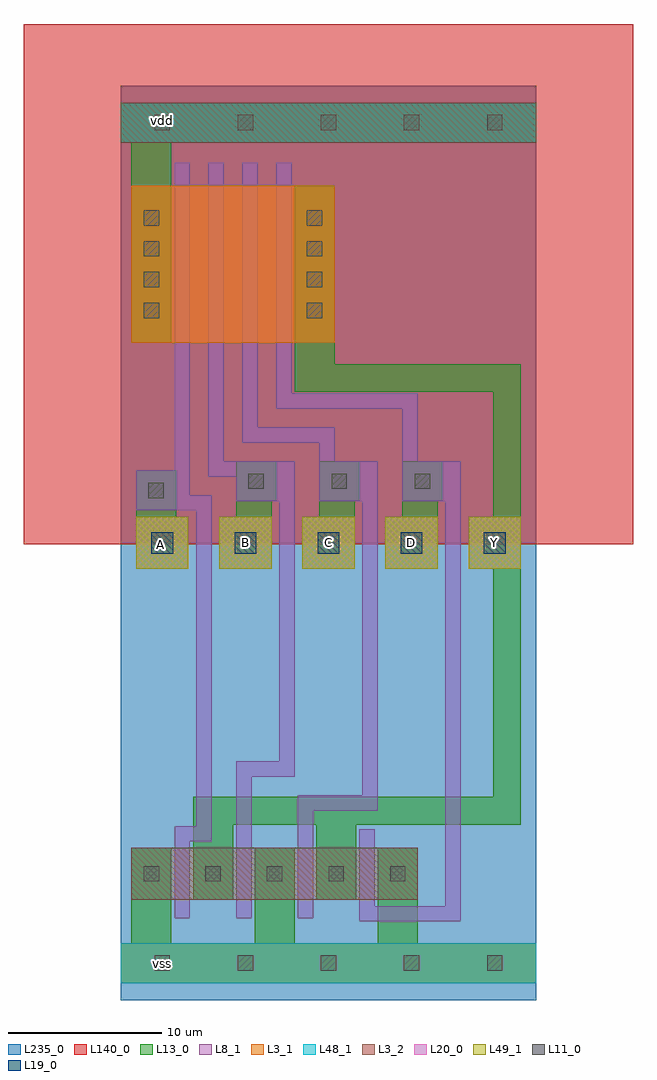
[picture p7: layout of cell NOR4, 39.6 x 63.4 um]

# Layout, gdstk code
import gdstk
lib = gdstk.Library(unit=1e-6, precision=1e-09)
def R(c, l, rs):  # rectangles x0, y0, x1, y1
    for r in rs: c.add(gdstk.rectangle(r[:2], r[2:], *l))
def A(c, l, x, y, w, h, nx, ny, dx, dy):  # array of equal rectangles
    R(c, l, [(x+i*dx, y+j*dy, x+i*dx+w, y+j*dy+h) for i in range(nx) for j in range(ny)])
def P(c, l, *ps):  # polygons
    for p in ps: c.add(gdstk.Polygon(p, *l))
L3_1 = (3, 1)
L3_2 = (3, 2)
L8_1 = (8, 1)
L11_0 = (11, 0)
L13_0 = (13, 0)
L19_0 = (19, 0)
L20_0 = (20, 0)
L48_1 = (48, 1)
L49_1 = (49, 1)
L140_0 = (140, 0)
L235_0 = (235, 0)

nor4 = lib.new_cell('NOR4')
R(nor4, L3_1, [(0,1.1,27,3.7), (0.7,42.7,13.9,52.9)])
R(nor4, L3_2, [(0.7,6.5,19.3,9.9), (0,55.7,27,58.3)])
P(nor4, L8_1, [(3.5,5.3),(3.5,11.3),(4.9,11.3),(4.9,31.8),(1,31.8),(1,34.4),(3.5,34.4),(3.5,54.4),(4.5,54.4),(4.5,32.8),(5.9,32.8),(5.9,10.3),(4.5,10.3),(4.5,5.3)],
  [(7.5,5.3),(7.5,15.5),(10.3,15.5),(10.3,32.4),(7.5,32.4),(7.5,34),(5.7,34),(5.7,54.4),(6.7,54.4),(6.7,35),(11.3,35),(11.3,14.5),(8.5,14.5),(8.5,5.3)],
  [(11.5,5.3),(11.5,13.3),(15.7,13.3),(15.7,32.4),(12.9,32.4),(12.9,36.2),(7.9,36.2),(7.9,54.4),(8.9,54.4),(8.9,37.2),(13.9,37.2),(13.9,35),(16.7,35),(16.7,12.3),(12.5,12.3),(12.5,5.3)],
  [(15.5,5.1),(15.5,11.1),(16.5,11.1),(16.5,6.1),(21.1,6.1),(21.1,32.4),(18.3,32.4),(18.3,38.4),(10.1,38.4),(10.1,54.4),(11.1,54.4),(11.1,39.4),(19.3,39.4),(19.3,35),(22.1,35),(22.1,5.1)])
A(nor4, L11_0, 7.6, 1.9, 1, 1, 4, 2, 5.4, 54.6)
A(nor4, L11_0, 1.5, 7.7, 1, 1, 5, 1, 4, 0)
A(nor4, L11_0, 8.3, 33.2, 1, 1, 3, 1, 5.4, 0)
A(nor4, L11_0, 1.5, 44.3, 1, 1, 1, 4, 0, 2)
A(nor4, L11_0, 12.1, 44.3, 1, 1, 1, 4, 0, 2)
R(nor4, L11_0, [(2.2,1.9,3.2,2.9), (7.6,1.9,8.6,2.9), (1.8,32.6,2.8,33.6), (2.2,56.5,3.2,57.5), (2.2,56.5,3.2,57.5), (7.6,56.5,8.6,57.5), (7.6,56.5,8.6,57.5), (7.6,56.5,8.6,57.5)])
A(nor4, L13_0, 0.7, 3.7, 2.6, 6.2, 3, 1, 8, 0)
R(nor4, L13_0, [(0,1.1,27,3.7), (0.7,42.7,3.3,55.7), (0,55.7,27,58.3)])
P(nor4, L13_0, [(11.8,28),(11.8,31.4),(12.9,31.4),(12.9,35),(15.5,35),(15.5,32.4),(15.2,32.4),(15.2,28)],
  [(1,28),(1,34.4),(3.6,34.4),(3.6,31.4),(4.4,31.4),(4.4,28)],
  [(6.4,28),(6.4,31.4),(7.5,31.4),(7.5,35),(10.1,35),(10.1,32.4),(9.8,32.4),(9.8,28)],
  [(17.2,28),(17.2,31.4),(18.3,31.4),(18.3,35),(20.9,35),(20.9,32.4),(20.6,32.4),(20.6,28)],
  [(4.7,6.5),(4.7,13.2),(24.2,13.2),(24.2,28),(22.6,28),(22.6,31.4),(24.2,31.4),(24.2,39.5),(11.3,39.5),(11.3,52.9),(13.9,52.9),(13.9,41.3),(26,41.3),(26,11.4),(15.3,11.4),(15.3,6.5),(12.7,6.5),(12.7,11.4),(7.3,11.4),(7.3,6.5)])
A(nor4, L19_0, 2, 29, 1.4, 1.4, 5, 1, 5.4, 0)
A(nor4, L20_0, 1, 28, 3.4, 3.4, 5, 1, 5.4, 0)
R(nor4, L48_1, [(0,1.1,27,3.7), (0,55.7,27,58.3)])
A(nor4, L49_1, 1, 28, 3.4, 3.4, 5, 1, 5.4, 0)
R(nor4, L140_0, [(-6.3,29.6,33.3,63.4)])
R(nor4, L235_0, [(0,0,27,59.4)])
nor4.add(gdstk.Label('Y', (24.3,29.7), layer=49, texttype=0))
nor4.add(gdstk.Label('C', (13.5,29.7), layer=49, texttype=0))
nor4.add(gdstk.Label('D', (18.9,29.7), layer=49, texttype=0))
nor4.add(gdstk.Label('A', (2.6,29.6), layer=49, texttype=0))
nor4.add(gdstk.Label('B', (8.1,29.7), layer=49, texttype=0))
nor4.add(gdstk.Label('vss', (2.7,2.4), layer=48, texttype=0))
nor4.add(gdstk.Label('vdd', (2.7,57.1), layer=48, texttype=0))

lib.write_gds('NOR4.gds')
